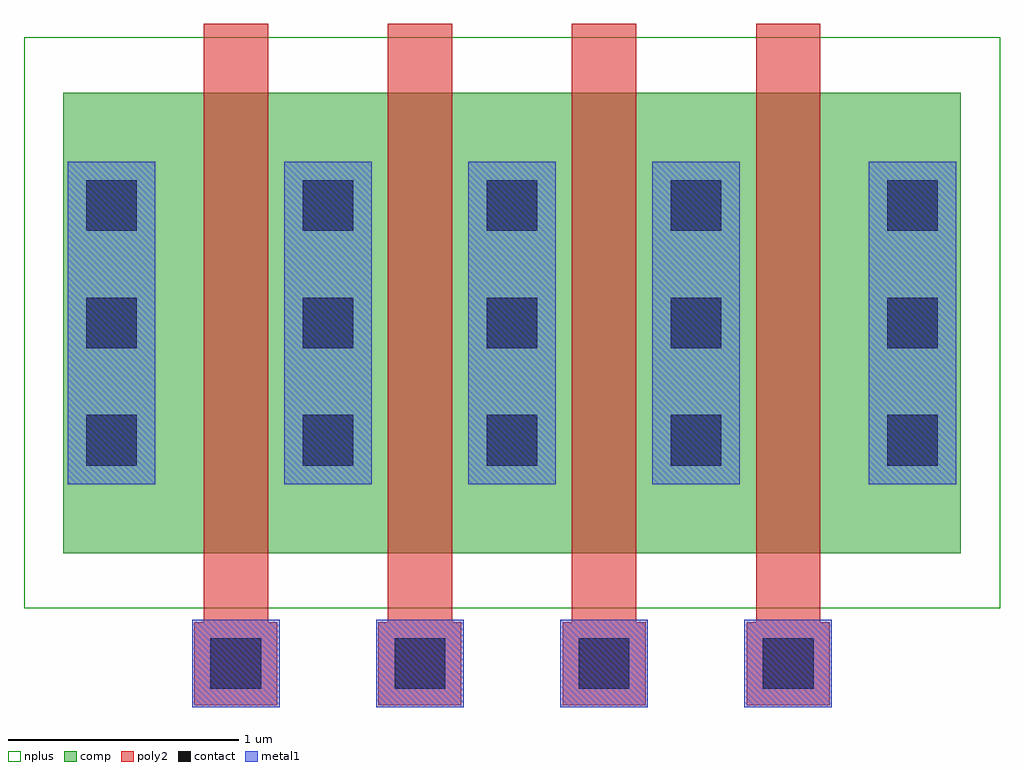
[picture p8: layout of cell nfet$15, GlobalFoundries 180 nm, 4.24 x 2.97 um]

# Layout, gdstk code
import gdstk
lib = gdstk.Library(unit=1e-6, precision=5e-09)
def R(c, l, rs):  # rectangles x0, y0, x1, y1
    for r in rs: c.add(gdstk.rectangle(r[:2], r[2:], *l))
def A(c, l, x, y, w, h, nx, ny, dx, dy):  # array of equal rectangles
    R(c, l, [(x+i*dx, y+j*dy, x+i*dx+w, y+j*dy+h) for i in range(nx) for j in range(ny)])
comp = (22, 0)
poly2 = (30, 0)
nplus = (32, 0)
contact = (33, 0)
metal1 = (34, 0)

nfet_15 = lib.new_cell('nfet$15')
R(nfet_15, comp, [(-0.42,0,0,2), (0,0,3.06,2), (3.06,0,3.48,2)])
A(nfet_15, poly2, 0.15, -0.66, 0.36, 0.36, 4, 1, 0.8, 0)
A(nfet_15, poly2, 0.19, -0.3, 0.28, 2.6, 4, 1, 0.8, 0)
R(nfet_15, nplus, [(-0.59,-0.24,3.65,2.24)])
A(nfet_15, contact, 0.22, -0.59, 0.22, 0.22, 4, 1, 0.8, 0)
A(nfet_15, contact, -0.32, 0.38, 0.22, 0.22, 1, 3, 0, 0.51)
A(nfet_15, contact, 0.62, 0.38, 0.22, 0.22, 3, 3, 0.8, 0.51)
A(nfet_15, contact, 3.16, 0.38, 0.22, 0.22, 1, 3, 0, 0.51)
A(nfet_15, metal1, 0.14, -0.67, 0.38, 0.38, 4, 1, 0.8, 0)
A(nfet_15, metal1, 0.54, 0.3, 0.38, 1.4, 3, 1, 0.8, 0)
R(nfet_15, metal1, [(-0.4,0.3,-0.02,1.7), (3.08,0.3,3.46,1.7)])

lib.write_gds('nfet_15.gds')
